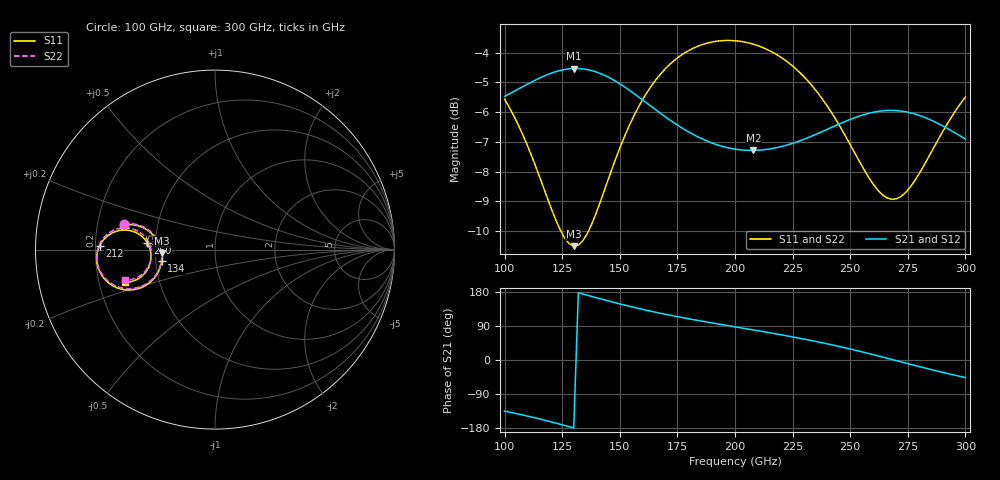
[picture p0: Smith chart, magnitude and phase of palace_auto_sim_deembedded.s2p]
! Created with skrf 1.11.0 (http://scikit-rf.org).
# GHz S DB R 50.0
!freq dBS11 angS11 dBS21 angS21 dBS12 angS12 dBS22 angS22
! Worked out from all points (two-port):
!   101 points, 100 GHz to 300 GHz, reference 50 ohm
!   highest |S21| = -4.53 dB at 130 GHz (marker M1); lowest = -7.3 dB at 208 GHz (marker M2)
!   |S21| within 3 dB of the highest: start of sweep to end of sweep
!   lowest |S11| = -10.5 dB at 130 GHz (marker M3), VSWR 1.85, Z = 27 - j1.28 ohm
!   |S11| at or under -10 dB: 124.5 GHz to 136.4 GHz (11.9 GHz wide, 9.12 % of centre)
!   |S22| runs from -10.5 to -3.6 dB; largest |S21 - S12| = 6.1e-14
!   S11 on the Smith chart (normalised r, x): 100 GHz: 0.31, +0.12; 134 GHz: 0.54, -0.08; 212 GHz: 0.22, +0.01; 260 GHz: 0.45, +0.04; 300 GHz: 0.31, -0.16
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100  -5.57 164.9  -5.47 -135.0  -5.47 -135.0  -5.58 164.3
108  -6.78 162.9  -5.14 -145.4  -5.14 -145.4  -6.79 162.2
114  -7.93 163.5  -4.90 -153.9  -4.90 -153.9  -7.94 162.9
124  -9.93 172.8  -4.60 -169.4  -4.60 -169.4  -9.95 172.1
130  -10.50 -175.8  -4.53 -179.3  -4.53 -179.3  -10.52 -176.5
134  -10.32 -167.7  -4.55 174.0  -4.55 174.0  -10.34 -168.4
142  -8.91 -156.2  -4.72 160.7  -4.72 160.7  -8.93 -156.9
152  -6.83 -152.7  -5.15 145.0  -5.15 145.0  -6.84 -153.4
160  -5.56 -154.7  -5.60 133.4  -5.60 133.4  -5.57 -155.5
168  -4.69 -158.4  -6.06 122.9  -6.06 122.9  -4.70 -159.3
184  -3.78 -167.2  -6.83 104.3  -6.83 104.3  -3.79 -168.2
200  -3.60 -175.8  -7.24 87.5  -7.24 87.5  -3.61 -176.9
208  -3.72 -179.8  -7.28 79.3  -7.28 79.3  -3.73 179.0
212  -3.83 178.2  -7.27 75.1  -7.27 75.1  -3.84 177.0
234  -5.16 169.1  -6.78 50.3  -6.78 50.3  -5.19 167.7
248  -6.81 167.7  -6.31 31.8  -6.31 31.8  -6.85 166.2
260  -8.42 174.3  -6.00 14.1  -6.00 14.1  -8.49 172.8
268  -8.93 -176.4  -5.94 1.5  -5.94 1.5  -9.00 -177.7
274  -8.70 -168.9  -5.99 -8.0  -5.99 -8.0  -8.77 -170.1
282  -7.79 -161.8  -6.17 -20.5  -6.17 -20.5  -7.84 -163.0
290  -6.67 -159.1  -6.46 -32.4  -6.46 -32.4  -6.71 -160.3
300  -5.49 -160.0  -6.90 -46.3  -6.90 -46.3  -5.52 -161.3
